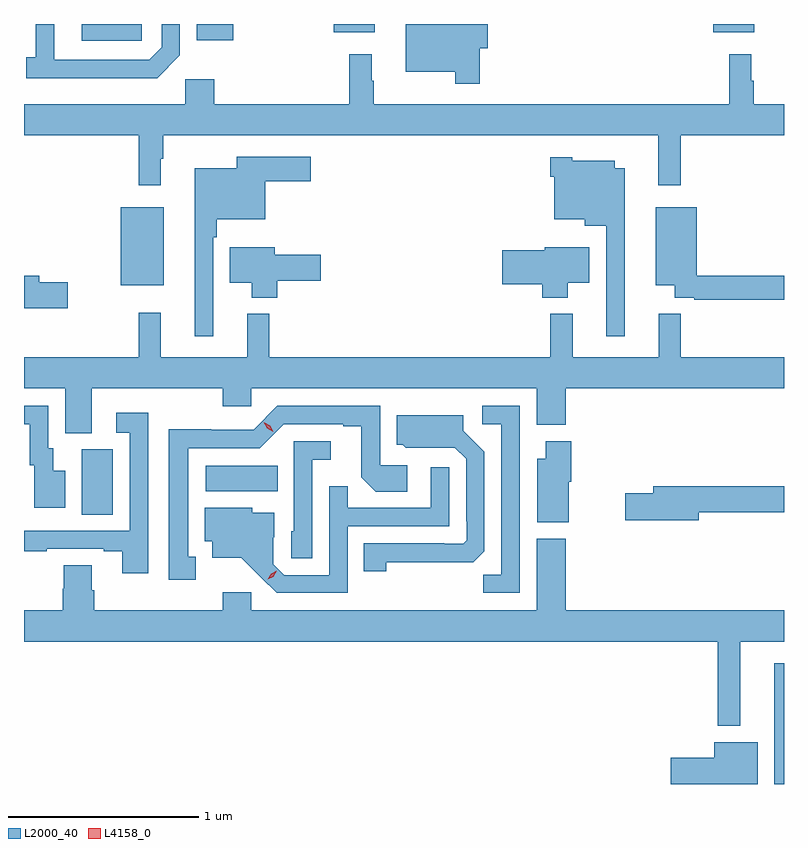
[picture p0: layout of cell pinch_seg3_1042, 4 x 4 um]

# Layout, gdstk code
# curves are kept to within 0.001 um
import gdstk
lib = gdstk.Library(unit=1e-6, precision=1e-09)
def R(c, l, rs):  # rectangles x0, y0, x1, y1
    for r in rs: c.add(gdstk.rectangle(r[:2], r[2:], *l))
def P(c, l, *ps):  # polygons
    for p in ps: c.add(gdstk.Polygon(p, *l))
L2000_40 = (2000, 40)
L4158_0 = (4158, 0)

pinch_seg3_1042 = lib.new_cell('pinch_seg3_1042')
R(pinch_seg3_1042, L2000_40, [(338.615,692.174,338.666,692.809), (334.97,693.592,335.134,693.936), (335.622,693.716,336.002,693.85), (335.174,694.799,335.401,695.209), (334.971,696.087,335.286,696.174), (335.576,696.089,335.768,696.174), (336.296,696.131,336.511,696.174), (338.294,696.131,338.509,696.174)])
P(pinch_seg3_1042, L2000_40, [(337.064,696.046),(337.108,696.046),(337.108,696.174),(336.674,696.174),(336.674,695.924),(336.936,695.924),(336.936,695.859),(337.064,695.859)],
  [(335.487,696.009),(335.487,696.174),(335.391,696.174),(335.391,696.051),(335.325,695.985),(334.825,695.985),(334.825,696.174),(334.728,696.174),(334.728,695.998),(334.677,695.998),(334.677,695.888),(335.366,695.888)],
  [(335.386,695.465),(335.398,695.465),(335.398,695.588),(338.005,695.588),(338.005,695.325),(338.123,695.325),(338.123,695.588),(338.666,695.588),(338.666,695.752),(338.506,695.752),(338.506,695.876),(338.494,695.876),(338.494,696.016),(338.377,696.016),(338.377,695.752),(336.508,695.752),(336.508,695.876),(336.496,695.876),(336.496,696.016),(336.379,696.016),(336.379,695.752),(335.666,695.752),(335.666,695.884),(335.514,695.884),(335.514,695.752),(334.666,695.752),(334.666,695.588),(335.269,695.588),(335.269,695.325),(335.386,695.325)],
  [(335.661,695.051),(335.681,695.051),(335.681,695.147),(335.935,695.147),(335.935,695.347),(336.175,695.347),(336.175,695.476),(335.786,695.476),(335.786,695.416),(335.564,695.416),(335.564,694.53),(335.661,694.53)],
  [(337.828,695.416),(337.774,695.416),(337.774,695.455),(337.551,695.455),(337.551,695.473),(337.436,695.473),(337.436,695.369),(337.457,695.369),(337.457,695.147),(337.616,695.147),(337.616,695.111),(337.731,695.111),(337.731,694.53),(337.828,694.53)],
  [(338.666,694.85),(338.206,694.85),(338.206,695.209),(337.991,695.209),(337.991,694.799),(338.09,694.799),(338.09,694.734),(338.194,694.734),(338.194,694.722),(338.666,694.722)],
  [(337.528,694.811),(337.642,694.811),(337.642,694.999),(337.406,694.999),(337.406,694.982),(337.182,694.982),(337.182,694.804),(337.394,694.804),(337.394,694.733),(337.528,694.733)],
  [(335.999,694.822),(336.229,694.822),(336.229,694.959),(335.986,694.959),(335.986,694.999),(335.75,694.999),(335.75,694.811),(335.864,694.811),(335.864,694.733),(335.999,694.733)],
  [(334.897,694.814),(334.747,694.814),(334.747,694.85),(334.666,694.85),(334.666,694.679),(334.897,694.679)],
  [(335.862,694.256),(337.364,694.256),(337.364,694.064),(337.517,694.064),(337.517,694.256),(338.666,694.256),(338.666,694.42),(338.123,694.42),(338.123,694.649),(338.006,694.649),(338.006,694.42),(337.553,694.42),(337.553,694.648),(337.435,694.648),(337.435,694.42),(335.957,694.42),(335.957,694.648),(335.84,694.648),(335.84,694.42),(335.387,694.42),(335.387,694.654),(335.269,694.654),(335.269,694.42),(334.666,694.42),(334.666,694.256),(334.883,694.256),(334.883,694.021),(335.023,694.021),(335.023,694.256),(335.711,694.256),(335.711,694.163),(335.862,694.163)],
  [(335.569,693.369),(335.53,693.369),(335.53,693.942),(335.907,693.942),(336.033,694.068),(336.347,694.068),(336.347,694.056),(336.441,694.056),(336.441,693.788),(336.517,693.712),(336.682,693.712),(336.682,693.852),(336.54,693.852),(336.54,694.164),(336,694.164),(335.874,694.038),(335.652,694.038),(335.652,694.04),(335.429,694.04),(335.429,693.249),(335.569,693.249)],
  [(337.275,694.164),(337.077,694.164),(337.077,694.068),(337.179,694.068),(337.179,693.275),(337.084,693.275),(337.084,693.18),(337.275,693.18)],
  [(334.882,693.823),(334.819,693.823),(334.819,693.942),(334.794,693.942),(334.794,694.164),(334.666,694.164),(334.666,694.068),(334.697,694.068),(334.697,693.852),(334.721,693.852),(334.721,693.627),(334.882,693.627)],
  [(335.319,694.129),(335.151,694.129),(335.151,694.023),(335.223,694.023),(335.223,693.507),(334.666,693.507),(334.666,693.399),(334.787,693.399),(334.787,693.411),(335.087,693.411),(335.087,693.399),(335.183,693.399),(335.183,693.282),(335.319,693.282)],
  [(336.573,693.34),(337.03,693.341),(337.089,693.4),(337.089,693.922),(336.979,694.032),(336.979,694.114),(336.629,694.114),(336.629,693.96),(336.66,693.96),(336.676,693.944),(336.933,693.945),(336.993,693.885),(336.993,693.556),(336.996,693.556),(336.996,693.456),(336.978,693.438),(336.878,693.438),(336.878,693.441),(336.454,693.441),(336.454,693.294),(336.573,693.294)],
  [(337.534,693.765),(337.547,693.765),(337.547,693.979),(337.412,693.979),(337.412,693.886),(337.367,693.886),(337.367,693.551),(337.534,693.551)],
  [(336.183,693.881),(336.28,693.881),(336.28,693.978),(336.087,693.978),(336.087,693.504),(336.072,693.504),(336.072,693.361),(336.183,693.361)],
  [(336.369,693.531),(336.903,693.531),(336.903,693.841),(336.807,693.841),(336.807,693.627),(336.371,693.627),(336.371,693.74),(336.273,693.74),(336.273,693.273),(336.036,693.273),(335.979,693.33),(335.979,693.472),(335.983,693.472),(335.983,693.601),(335.868,693.601),(335.868,693.628),(335.618,693.628),(335.618,693.452),(335.657,693.452),(335.657,693.365),(335.809,693.365),(335.996,693.18),(336.369,693.18)],
  [(338.218,693.604),(338.666,693.604),(338.666,693.74),(337.979,693.74),(337.979,693.704),(337.83,693.704),(337.83,693.562),(338.218,693.562)],
  [(338.437,692.924),(338.666,692.924),(338.666,693.088),(337.517,693.088),(337.517,693.466),(337.364,693.466),(337.364,693.088),(335.862,693.088),(335.862,693.184),(335.711,693.184),(335.711,693.088),(335.036,693.088),(335.036,693.194),(335.023,693.194),(335.023,693.326),(334.876,693.326),(334.876,693.201),(334.871,693.201),(334.871,693.088),(334.666,693.088),(334.666,692.924),(338.316,692.924),(338.316,692.48),(338.437,692.48)],
  [(338.527,692.395),(338.3,692.395),(338.3,692.312),(338.07,692.312),(338.07,692.174),(338.527,692.174)])
P(pinch_seg3_1042, L4158_0, [(335.949,693.251),(335.949,693.251),(335.966,693.281),(335.996,693.296),(335.996,693.296),(335.996,693.296),(335.979,693.266),(335.949,693.251)],
  [(335.978,694.027),(335.946,694.046),(335.929,694.078),(335.929,694.078),(335.929,694.078),(335.961,694.059),(335.978,694.027),(335.978,694.027)])

lib.write_gds('pinch_seg3_1042.gds')
